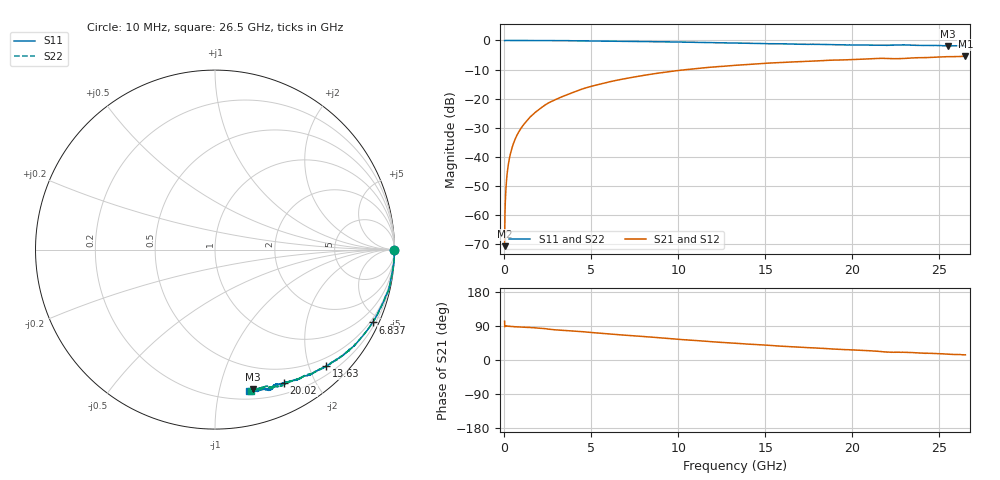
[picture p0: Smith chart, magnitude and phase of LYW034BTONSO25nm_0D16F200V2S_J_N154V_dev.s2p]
!Keysight Technologies,N5222B,MY61253708,A.15.00.15
!Date: Wednesday, June 19, 2024 10:13:20
!Correction: S11(C  2-Port  )
!S21(C  2-Port  )
!S12(C  2-Port  )
!S22(C  2-Port  )
!S2P File: Measurements: S11, S21, S12, S22:
# Hz S  RI  R 50
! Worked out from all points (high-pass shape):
!   2651 points, 10 MHz to 26.5 GHz, reference 50 ohm
!   highest |S21| = -5.42 dB at 26.5 GHz (marker M1); lowest = -70.8 dB at 10 MHz (marker M2)
!   |S21| within 3 dB of the highest: 13.57 GHz to end of sweep
!   lowest |S11| = -1.9 dB at 25.5 GHz (marker M3), VSWR 9.21, Z = 14.4 - j63.3 ohm
!   |S11| at or under -10 dB: nowhere
!   |S22| runs from -1.8 to 0.0 dB; largest |S21 - S12| = 0.0058
!   S11 on the Smith chart (normalised r, x): 10 MHz: open; 6.837 GHz: 0.36, -4.52; 13.63 GHz: 0.34, -2.29; 20.02 GHz: 0.32, -1.60; 26.5 GHz: 0.27, -1.23
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1e7  0.9987 -0.00293  -6.15e-05 0.000282  0.000205 0.000307  0.9985 -0.00181
6.997736e7  1 -0.00505  1.02e-05 0.00228  5.4e-05 0.00227  0.9997 -0.00478
1.599434e8  1 -0.0112  5.58e-05 0.00524  4.74e-05 0.00523  0.9997 -0.0106
1.999283e8  1 -0.0134  6.43e-05 0.00653  8.95e-05 0.00655  0.9997 -0.0127
2.599057e8  0.9997 -0.0174  0.000178 0.00846  0.000162 0.00854  0.9996 -0.0167
3.598679e8  0.9997 -0.0243  0.000317 0.0117  0.000286 0.0118  0.9994 -0.0236
4.898189e8  0.9988 -0.0326  0.0005 0.016  0.000514 0.016  0.9988 -0.0316
6.497585e8  0.9987 -0.0425  0.000899 0.0211  0.000887 0.0212  0.9986 -0.0417
8.396868e8  0.9981 -0.0549  0.00143 0.0272  0.00143 0.0273  0.9981 -0.0547
1.449457e9  0.9911 -0.096  0.00335 0.0472  0.0034 0.0473  0.9933 -0.0927
2.339121e9  0.9825 -0.1503  0.00974 0.077  0.00993 0.0773  0.9835 -0.1506
3.218789e9  0.9719 -0.2057  0.0206 0.1028  0.0207 0.1033  0.9721 -0.2049
4.428332e9  0.9443 -0.2772  0.0373 0.1397  0.0375 0.1402  0.9458 -0.2747
6.837423e9  0.878 -0.4058  0.0893 0.1985  0.0902 0.1988  0.8796 -0.4046
8.846664e9  0.8082 -0.4979  0.1417 0.2347  0.1429 0.235  0.8094 -0.4968
1.3255e10  0.6349 -0.6394  0.2675 0.2604  0.2692 0.2598  0.6379 -0.6382
1.363486e10  0.6194 -0.65  0.2778 0.2598  0.2788 0.2591  0.6224 -0.6462
1.767333e10  0.4644 -0.7212  0.3738 0.2343  0.3764 0.2325  0.4738 -0.7187
2.002245e10  0.3848 -0.7426  0.4196 0.21  0.4221 0.2068  0.397 -0.7421
2.209166e10  0.3292 -0.7563  0.4572 0.1736  0.4583 0.1705  0.3217 -0.7621
2.550038e10  0.2097 -0.7763  0.5071 0.138  0.508 0.1374  0.2292 -0.7779
2.65e10  0.1901 -0.7899  0.5205 0.1266  0.5196 0.1229  0.2028 -0.7876
